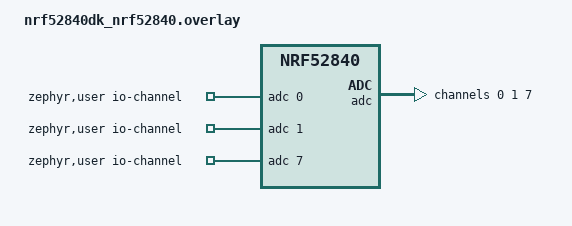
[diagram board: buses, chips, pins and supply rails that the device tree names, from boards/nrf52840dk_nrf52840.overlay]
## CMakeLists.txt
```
#
# Copyright (c) 2020 Nordic Semiconductor ASA
#
# SPDX-License-Identifier: LicenseRef-Nordic-5-Clause
#
cmake_minimum_required(VERSION 3.20.0)

find_package(Zephyr REQUIRED HINTS $ENV{ZEPHYR_BASE})
project(NONE)

# NORDIC SDK APP START
target_sources(app PRIVATE
	src/main.c
	src/model_handler.c
	src/light_monitor_srv.c)
target_include_directories(app PRIVATE include)
# NORDIC SDK APP END
```

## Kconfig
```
#
# Copyright (c) 2020 Nordic Semiconductor
#
# SPDX-License-Identifier: LicenseRef-Nordic-5-Clause
#

source "Kconfig.zephyr"

menu "Nordic Bluetooth mesh light monitor server sample"

config BT_MESH_LIGHT_MONITOR_MESSAGE_LENGTH
	int "Max length of the message to be sent over mesh"
	default 90
	range 0 255
	help
	  Impacts on memory size occupied by the buffer of a message to be
	  published. This does not include null terminator. The message must also
	  fit into the application SDU. Adjust BT_MESH_TX_SEG_MAX and
	  BT_MESH_RX_SEG_MAX to be able to receive the longest messages.

config BT_MESH_LIGHT_MONITOR_CACHE_SIZE
	int "Presence cache size"
	default 10
	range 0 32767
	help
	  Presence cache stores previously received presence of chat clients.
	  Recommended to be as big as number of chat clients in the mesh network.

endmenu

module = BT_MESH_LIGHT_MONITOR_srv
module-str = BT Mesh Light Monitor Server model
source "${ZEPHYR_BASE}/subsys/logging/Kconfig.template.log_config"
```

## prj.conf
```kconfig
#
# Copyright (c) 2020 Nordic Semiconductor ASA
#
# SPDX-License-Identifier: LicenseRef-Nordic-5-Clause
#
CONFIG_NCS_SAMPLES_DEFAULTS=y

# Deffered logging helps improve LPN power consumption
# when friendship is established.
CONFIG_LOG_MODE_DEFERRED=y

# General configuration
CONFIG_SYSTEM_WORKQUEUE_STACK_SIZE=4096
CONFIG_FLASH=y
CONFIG_FLASH_MAP=y
CONFIG_NVS=y
CONFIG_SETTINGS=y
CONFIG_HWINFO=y
CONFIG_DK_LIBRARY=y
CONFIG_PM_SINGLE_IMAGE=y
CONFIG_PM_PARTITION_SIZE_SETTINGS_STORAGE=0x8000
CONFIG_SOC_FLASH_NRF_PARTIAL_ERASE=y

# Bluetooth configuration
CONFIG_BT=y
CONFIG_BT_COMPANY_ID=0x0059
CONFIG_BT_DEVICE_NAME="Mesh Light Monitor Server"
CONFIG_BT_L2CAP_TX_MTU=69
CONFIG_BT_L2CAP_TX_BUF_COUNT=8
CONFIG_BT_CTLR_DATA_LENGTH_MAX=37
CONFIG_BT_BUF_ACL_TX_SIZE=37
CONFIG_BT_OBSERVER=y
CONFIG_BT_PERIPHERAL=y
CONFIG_BT_SETTINGS=y

# Disable unused Bluetooth features
CONFIG_BT_CTLR_DUP_FILTER_LEN=0
CONFIG_BT_CTLR_LE_ENC=n
CONFIG_BT_PHY_UPDATE=n
CONFIG_BT_CTLR_CHAN_SEL_2=n
CONFIG_BT_CTLR_MIN_USED_CHAN=n
CONFIG_BT_CTLR_PRIVACY=n

# Bluetooth Mesh configuration
CONFIG_BT_MESH=y
CONFIG_BT_MESH_RELAY=y
CONFIG_BT_MESH_FRIEND=y
CONFIG_BT_MESH_ADV_BUF_COUNT=13
CONFIG_BT_MESH_RX_SEG_MAX=10
CONFIG_BT_MESH_TX_SEG_MAX=10
CONFIG_BT_MESH_PB_GATT=y
CONFIG_BT_MESH_GATT_PROXY=y
CONFIG_BT_MESH_DK_PROV=y
CONFIG_BT_MESH_SENSOR_SRV=y

# Enable Bluetooth mesh models debug logs
CONFIG_BT_MESH_LOG_LEVEL_DBG=y


# ADC config
CONFIG_NRFX_SAADC=y
CONFIG_ADC=y
CONFIG_NRFX_GPIOTE=y

# UART config
CONFIG_SERIAL=y
CONFIG_UART_ASYNC_API=y
```

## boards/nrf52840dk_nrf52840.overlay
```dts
/*
 * SPDX-License-Identifier: Apache-2.0
 *
 * Copyright (c) 2022 Nordic Semiconductor ASA
 */


/ {
	zephyr,user {
		io-channels = <&adc 0>, <&adc 1>, <&adc 7>;
	};
};

&adc {
	#address-cells = <1>;
	#size-cells = <0>;

	channel@0 {
		reg = <0>;
		zephyr,gain = "ADC_GAIN_1_6";
		zephyr,reference = "ADC_REF_INTERNAL";
		zephyr,acquisition-time = <ADC_ACQ_TIME_DEFAULT>;
		zephyr,input-positive = <NRF_SAADC_AIN1>; /* P0.03 */
		zephyr,resolution = <12>;
		zephyr,oversampling = <8>;
	};
 
	channel@1 {
		reg = <1>;
		zephyr,gain = "ADC_GAIN_1_6";
		zephyr,reference = "ADC_REF_INTERNAL";
		zephyr,acquisition-time = <ADC_ACQ_TIME_DEFAULT>;
		zephyr,input-positive = <NRF_SAADC_VDD>;
		zephyr,resolution = <14>;
		zephyr,oversampling = <8>;
	};

	channel@7 {
		reg = <7>;
		zephyr,gain = "ADC_GAIN_1_5";
		zephyr,reference = "ADC_REF_VDD_1_4";
		zephyr,vref-mv = <750>;
		zephyr,acquisition-time = <ADC_ACQ_TIME_DEFAULT>;
		zephyr,input-positive = <NRF_SAADC_AIN6>; /* P0.30 */
		zephyr,input-negative = <NRF_SAADC_AIN7>; /* P0.31 */
		zephyr,resolution = <12>;
	};
};
```

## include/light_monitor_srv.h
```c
/*
 * Copyright (c) 2020 Nordic Semiconductor ASA
 *
 * SPDX-License-Identifier: LicenseRef-Nordic-5-Clause
 */

/**
 * @file
 * @defgroup bt_mesh_light_monitor
 * @{
 * @brief API for the Bluetooth Mesh Chat Client model.
 */

#ifndef BT_MESH_LIGHT_MONITOR_srv_H__
#define BT_MESH_LIGHT_MONITOR_srv_H__

#include <zephyr/bluetooth/mesh.h>
#include <bluetooth/mesh/model_types.h>
#include <bluetooth/mesh/sensor_srv.h>

#ifdef __cplusplus
extern "C" {
#endif

#define BT_MESH_LIGHT_MONITOR_VENDOR_COMPANY_ID 0x0059
#define BT_MESH_LIGHT_MONITOR_VENDOR_MODEL_ID 0x000B

#define BT_MESH_LIGHT_MONITOR_SETUP_VENDOR_MODEL_ID 0x000C

#define GET_STATUS_OPCODE BT_MESH_MODEL_OP_3(0x01, BT_MESH_LIGHT_MONITOR_VENDOR_COMPANY_ID)
#define TEST_ACK_OPCODE BT_MESH_MODEL_OP_3(0x02, BT_MESH_LIGHT_MONITOR_VENDOR_COMPANY_ID)
#define TEST_RESULT_OPCODE BT_MESH_MODEL_OP_3(0x03, BT_MESH_LIGHT_MONITOR_VENDOR_COMPANY_ID)
#define UPDATE_STATUS_OPCODE BT_MESH_MODEL_OP_3(0x04, BT_MESH_LIGHT_MONITOR_VENDOR_COMPANY_ID)
#define TEST_START_OPCODE BT_MESH_MODEL_OP_3(0x05, BT_MESH_LIGHT_MONITOR_VENDOR_COMPANY_ID)
#define RESULT_LOGG_OPCODE BT_MESH_MODEL_OP_3(0x06, BT_MESH_LIGHT_MONITOR_VENDOR_COMPANY_ID)
#define GET_LOG_OPCODE BT_MESH_MODEL_OP_3(0x07, BT_MESH_LIGHT_MONITOR_VENDOR_COMPANY_ID)
#define GET_ACK_OPCODE BT_MESH_MODEL_OP_3(0x08, BT_MESH_LIGHT_MONITOR_VENDOR_COMPANY_ID)
#define GET_START_OPCODE BT_MESH_MODEL_OP_3(0x09, BT_MESH_LIGHT_MONITOR_VENDOR_COMPANY_ID)
#define GET_RESULT_OPCODE BT_MESH_MODEL_OP_3(0x0A, BT_MESH_LIGHT_MONITOR_VENDOR_COMPANY_ID)
#define GET_TEST_START_OPCODE BT_MESH_MODEL_OP_3(0x0B, BT_MESH_LIGHT_MONITOR_VENDOR_COMPANY_ID)

#define CALIBRATE_OPCODE BT_MESH_MODEL_OP_3(0x0C, BT_MESH_LIGHT_MONITOR_VENDOR_COMPANY_ID)
#define CALIBRATE_OK_OPCODE BT_MESH_MODEL_OP_3(0x0D, BT_MESH_LIGHT_MONITOR_VENDOR_COMPANY_ID)

/** Non-private message opcode. */
#define BT_MESH_LIGHT_MONITOR_OP_MESSAGE                                                           \
	BT_MESH_MODEL_OP_3(0x0A, BT_MESH_LIGHT_MONITOR_VENDOR_COMPANY_ID)

/** Message reply opcode. */
#define BT_MESH_LIGHT_MONITOR_OP_MESSAGE_REPLY                                                     \
	BT_MESH_MODEL_OP_3(0x0C, BT_MESH_LIGHT_MONITOR_VENDOR_COMPANY_ID)

#define GET_STATUS_LEN 0
#define TEST_ACK_LEN 0
#define TEST_RESULT_LEN 1
#define STATUS_UPDATE_LEN 2
#define TEST_START_LEN 1
#define GET_LOG_LEN 0
#define RESULT_LOGG_LEN 5
#define GET_ACK_LEN 0
#define GET_START_LEN 0
#define GET_RESULT_LEN 0

#define CALIBRATE_LEN 0

#define BT_MESH_LIGHT_MONITOR_MSG_MINLEN_MESSAGE 1
#define BT_MESH_LIGHT_MONITOR_MSG_MAXLEN_MESSAGE                                                   \
	(CONFIG_BT_MESH_LIGHT_MONITOR_MESSAGE_LENGTH + 1) /* + \0 */
#define BT_MESH_LIGHT_MONITOR_MSG_LEN_MESSAGE_REPLY 0
#define BT_MESH_LIGHT_MONITOR_MSG_LEN_PRESENCE 1
#define BT_MESH_LIGHT_MONITOR_MSG_LEN_PRESENCE_GET 0

#define SLEEP_TIME_MS 1000
#define RECEIVE_BUFF_SIZE 10
#define RECEIVE_TIMEOUT 100

/* Forward declaration of the Bluetooth Mesh light Monitor Server model context. */
struct bt_mesh_light_monitor;

#define BT_MESH_MODEL_LIGHT_MONITOR(_monitor)                                                      \
	BT_MESH_MODEL_VND_CB(BT_MESH_LIGHT_MONITOR_VENDOR_COMPANY_ID,                              \
			     BT_MESH_LIGHT_MONITOR_VENDOR_MODEL_ID, _bt_mesh_light_monitor_op,     \
			     &(_monitor)->pub,                                                     \
			     BT_MESH_MODEL_USER_DATA(struct bt_mesh_light_monitor, _monitor),      \
			     &_bt_mesh_light_monitor_cb),                                          \
		BT_MESH_MODEL_VND_CB(BT_MESH_LIGHT_MONITOR_VENDOR_COMPANY_ID,                      \
				     BT_MESH_LIGHT_MONITOR_SETUP_VENDOR_MODEL_ID,                  \
				     _bt_mesh_light_monitor_setup_op, &(_monitor)->setup_pub,      \
				     BT_MESH_MODEL_USER_DATA(struct bt_mesh_light_monitor,         \
							     _monitor),                            \
				     &_bt_mesh_light_monitor_setup_cb)

/** Bluetooth Mesh Light Monitor handlers. */
struct bt_light_monitor_handlers {
	/** @brief Called after the monitor has been started.
     *
     * @param[in] monitor Light Monitor instance that has been started.
     */
	void (*const start)(struct bt_mesh_light_monitor *monitor);

	/** @brief Handler for an update message.
     *
     * @param[in] monitor Light Monitor instance that received the update message.
     * @param[in] ctx Context of the incoming message.
     * @param[in] msg Pointer to a received update message.
     */
	void (*const update)(struct bt_mesh_light_monitor *monitor, struct bt_mesh_msg_ctx *ctx,
			     const uint16_t *msg);

	/** @brief Handler for starting a test
     *
     * @param[in] monitor Light Monitor instance that received the test message.
     * @param[in] ctx Context of the incoming message.
     * @param[in] duration The duration for which the test will run in seconds.
     * @param[in] time_stamp The timestamp of when the test start message was sent.
     */
	void (*const test)(struct bt_mesh_light_monitor *monitor, struct bt_mesh_msg_ctx *ctx,
			   uint16_t duration, uint32_t time_stamp);

	/** @brief Handler for a result.
     *
     * @param[in] monitor Light Monitor instance that received the result.
     * @param[in] ctx Context of the incoming message.
     * @param[in] result Pointer to the received result.
     */
	void (*const result)(struct bt_mesh_light_monitor *monitor, struct bt_mesh_msg_ctx *ctx,
			     bool *result);

	/** @brief Handler for a get message.
     *
     * @param[in] monitor Light Monitor instance that received the get message.
     * @param[in] ctx Context of the incoming message.
     */
	int (*const get)(struct bt_mesh_light_monitor *monitor, struct bt_mesh_msg_ctx *ctx);

	/** @brief Handler for a get_log message.
     *
     * @param[in] monitor Light Monitor instance that received the get_log message.
     * @param[in] ctx Context of the incoming message.
     */
	int (*const get_log)(struct bt_mesh_light_monitor *monitor, struct bt_mesh_msg_ctx *ctx);

	/** @brief Handler for a test_ack message.
     *
     * @param[in] monitor Light Monitor instance that received the test_ack message.
     * @param[in] ctx Context of the incoming message.
     */
	int (*const test_ack)(struct bt_mesh_light_monitor *monitor, struct bt_mesh_msg_ctx *ctx);

	/** @brief Handler for a get_ack message.
     *
     * @param[in] monitor Light Monitor instance that received the get_ack message.
     * @param[in] ctx Context of the incoming message.
     */
	int (*const get_ack)(struct bt_mesh_light_monitor *monitor, struct bt_mesh_msg_ctx *ctx);

	/** @brief Handler for a get_result message.
     *
     * @param[in] monitor Light Monitor instance that received the get_result message.
     * @param[in] ctx Context of the incoming message.
     */
	int (*const get_result)(struct bt_mesh_light_monitor *monitor, struct bt_mesh_msg_ctx *ctx);

};

struct bt_light_monitor_setup_handlers {

	/** @brief Handler for a calibrate message.
     *
     * @param[in] monitor Light Monitor instance that received the calibrate message.
     * @param[in] ctx Context of the incoming message.
     */
	void (*const calibrate)(struct bt_mesh_light_monitor *monitor, struct bt_mesh_msg_ctx *ctx);
};

struct test_result {
	bool result;
	uint32_t time_stamp;
};

struct results_store {
	struct test_result results[8];
	uint8_t last_result_idx;
};

struct bt_mesh_light_monitor {
	/** Generic sensor Server instance. */
	struct bt_mesh_sensor_srv sensor_srv;
	/**light sensor instance*/
	struct bt_mesh_sensor light_sensor;
	/** Access model pointer. */
	struct bt_mesh_model *model;
	/** Publish parameters. */
	struct bt_mesh_model_pub pub;
	/** Publication message. */
	struct net_buf_simple pub_msg;
	/** Publication message buffer. */
	uint16_t buf[BT_MESH_MODEL_BUF_LEN(UPDATE_STATUS_OPCODE,
					   BT_MESH_LIGHT_MONITOR_MSG_MAXLEN_MESSAGE)];
	/** Handler function structure. */

	const struct bt_light_monitor_handlers *handlers;

	const struct bt_light_monitor_setup_handlers *setup_handlers;
	struct results_store res_sto;

	struct bt_mesh_model_pub setup_pub;
	/* Publication buffer */
	struct net_buf_simple setup_pub_buf;
	/* Publication data */
};

extern int send_sensor_update(struct bt_mesh_light_monitor *monitor, uint16_t sample_value);
extern int set_light_test_start(struct bt_mesh_light_monitor *monitor, uint16_t test_duration,
				uint32_t time_stamp);
extern int send_test_ack(struct bt_mesh_light_monitor *monitor);
extern int send_test_result(struct bt_mesh_light_monitor *monitor, bool result);
extern int handle_get_status(struct bt_mesh_model *model, struct bt_mesh_msg_ctx *ctx,
			     struct net_buf_simple *buf);
extern int get_status(struct bt_mesh_light_monitor *monitor);
extern int send_logged_result(struct bt_mesh_light_monitor *monitor, uint32_t time_stamp,
			      bool result);
extern int get_test_start(struct bt_mesh_light_monitor *monitor);
extern int send_calibrated_ok(struct bt_mesh_light_monitor *monitor);

/** @cond INTERNAL_HIDDEN */
extern const struct bt_mesh_model_op _bt_mesh_light_monitor_op[];
extern const struct bt_mesh_model_cb _bt_mesh_light_monitor_cb;
extern const struct bt_mesh_model_op _bt_mesh_light_monitor_setup_op[];
extern const struct bt_mesh_model_cb _bt_mesh_light_monitor_setup_cb;
/** @endcond */

#ifdef __cplusplus
}
#endif

#endif /* BT_MESH_LIGHT_MONITOR_H__ */

/** @} */
```

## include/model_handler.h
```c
/*
 * Copyright (c) 2020 Nordic Semiconductor ASA
 *
 * SPDX-License-Identifier: LicenseRef-Nordic-5-Clause
 */

/**
 * @file
 * @brief Model handler
 */

#ifndef MODEL_HANDLER_H__
#define MODEL_HANDLER_H__

#include <zephyr/bluetooth/mesh.h>

#ifdef __cplusplus
extern "C" {
#endif

/*A standard test length in seconds is 7200(Two hours) 
but is set shorter for testing purposes*/
#define TEST_DURATION 600
#define TEST_DURATION_TESTING 60

struct nodes_list {
	/** Name of the device instance */
	uint8_t list[512];
	/** Address of device instance config information */
	const void *config;
	/** Address of the API structure exposed by the device instance */
};

const struct bt_mesh_comp *model_handler_init(void);

#ifdef __cplusplus
}
#endif

#endif /* MODEL_HANDLER_H__ */
```

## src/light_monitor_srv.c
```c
/*
 * Copyright (c) 2019 Nordic Semiconductor ASA
 *
 * SPDX-License-Identifier: LicenseRef-Nordic-5-Clause
 */

#include <zephyr/bluetooth/mesh.h>
#include "light_monitor_srv.h"
#include "mesh/net.h"
#include <string.h>
#include <zephyr/logging/log.h>
#include <bluetooth/mesh/sensor_srv.h>

uint8_t err;

extern int handle_get_status(struct bt_mesh_model *model, struct bt_mesh_msg_ctx *ctx,
			     struct net_buf_simple *buf)
{
	struct bt_mesh_light_monitor *monitor = model->user_data;

	if (monitor->handlers->get) {
		monitor->handlers->get(monitor, ctx);
	}
	return 0;
}

static int handle_light_test_start(struct bt_mesh_model *model, struct bt_mesh_msg_ctx *ctx,
				   struct net_buf_simple *buf)
{
	uint16_t test_duration;
	uint32_t time_stamp;
	test_duration = net_buf_simple_pull_le16(buf);
	time_stamp = net_buf_simple_pull_le32(buf);
	struct bt_mesh_light_monitor *monitor = model->user_data;

	if (monitor->handlers->test) {
		monitor->handlers->test(monitor, ctx, test_duration, time_stamp);
	}
	return 0;
}

static int handle_log_get(struct bt_mesh_model *model, struct bt_mesh_msg_ctx *ctx,
			  struct net_buf_simple *buf)
{
	struct bt_mesh_light_monitor *monitor = model->user_data;
	if (monitor->handlers->get_log) {
		monitor->handlers->get_log(monitor, ctx);
	}
	return 0;
}

static int handle_ack_get(struct bt_mesh_model *model, struct bt_mesh_msg_ctx *ctx,
			  struct net_buf_simple *buf)
{
	struct bt_mesh_light_monitor *monitor = model->user_data;
	if (monitor->handlers->get_ack) {
		monitor->handlers->get_ack(monitor, ctx);
	}
	return 0;
}

static int handle_result_get(struct bt_mesh_model *model, struct bt_mesh_msg_ctx *ctx,
			     struct net_buf_simple *buf)
{
	struct bt_mesh_light_monitor *monitor = model->user_data;
	if (monitor->handlers->get_result) {
		monitor->handlers->get_result(monitor, ctx);
	}
	return 0;
}

static int handle_calibrate(struct bt_mesh_model *model, struct bt_mesh_msg_ctx *ctx,
			    struct net_buf_simple *buf)
{
	printk("calibrating\n");
	struct bt_mesh_light_monitor *monitor = model->user_data;
	if (monitor->setup_handlers->calibrate) {
		monitor->setup_handlers->calibrate(monitor, ctx);
	}
	return 0;
}

const struct bt_mesh_model_op _bt_mesh_light_monitor_op[] = {
	{ GET_STATUS_OPCODE, GET_STATUS_LEN, handle_get_status },
	{ TEST_START_OPCODE, TEST_START_LEN, handle_light_test_start },
	{ GET_LOG_OPCODE, GET_LOG_LEN, handle_log_get },
	{ GET_ACK_OPCODE, GET_ACK_LEN, handle_ack_get },
	{ GET_RESULT_OPCODE, GET_RESULT_LEN, handle_result_get },

	BT_MESH_MODEL_OP_END,
};

const struct bt_mesh_model_op _bt_mesh_light_monitor_setup_op[] = {
	{ CALIBRATE_OPCODE, CALIBRATE_LEN, handle_calibrate },
	
	BT_MESH_MODEL_OP_END,
};

uint16_t msg;
bool result_msg;
uint32_t time_stamp;
extern int send_sensor_update(struct bt_mesh_light_monitor *monitor, uint16_t update_value)
{
	msg = update_value;
	struct net_buf_simple *buf = monitor->model->pub->msg;

	bt_mesh_model_msg_init(buf, UPDATE_STATUS_OPCODE);
	net_buf_simple_add_le16(buf, msg);

	return bt_mesh_model_publish(monitor->model);
}

extern int send_test_result(struct bt_mesh_light_monitor *monitor, bool result)
{
	result_msg = result;
	struct net_buf_simple *buf = monitor->model->pub->msg;

	bt_mesh_model_msg_init(buf, TEST_RESULT_OPCODE);
	net_buf_simple_add_mem(buf, &result_msg, TEST_RESULT_LEN);
	if (IS_ENABLED(CONFIG_BT_SETTINGS)) {
		err = bt_mesh_model_data_store(monitor->model, true, NULL, &monitor->res_sto,
					       sizeof(monitor->res_sto));
	}

	return bt_mesh_model_publish(monitor->model);
}

extern int send_logged_result(struct bt_mesh_light_monitor *monitor, uint32_t time_stamp,
			      bool result)
{
	result_msg = result;
	time_stamp = time_stamp;
	struct net_buf_simple *buf = monitor->model->pub->msg;
	printk("Sendt logged result is %u and time is %d \n", result_msg, time_stamp);

	bt_mesh_model_msg_init(buf, RESULT_LOGG_OPCODE);
	net_buf_simple_add_mem(buf, &result_msg, 1);
	net_buf_simple_add_le32(buf, time_stamp);

	return bt_mesh_model_publish(monitor->model);
}

extern int get_test_start(struct bt_mesh_light_monitor *monitor)
{
	struct net_buf_simple *buf = monitor->model->pub->msg;

	bt_mesh_model_msg_init(buf, GET_START_OPCODE);

	return bt_mesh_model_publish(monitor->model);
}

extern int send_test_ack(struct bt_mesh_light_monitor *monitor)
{
	struct net_buf_simple *buf = monitor->model->pub->msg;

	bt_mesh_model_msg_init(buf, TEST_ACK_OPCODE);

	return bt_mesh_model_publish(monitor->model);
}

extern int send_calibrated_ok(struct bt_mesh_light_monitor *monitor)
{
	struct net_buf_simple *buf = monitor->model->pub->msg;

	bt_mesh_model_msg_init(buf, CALIBRATE_OK_OPCODE);

	return bt_mesh_model_publish(monitor->model);
}

static int bt_mesh_light_monitor_update_handler(struct bt_mesh_model *model)
{
	return 0;
}

#ifdef CONFIG_BT_SETTINGS
static int bt_mesh_light_monitor_srv_settings_set(struct bt_mesh_model *model, const char *name,
						  size_t len_rd, settings_read_cb read_cb,
						  void *cb_arg)
{
	struct bt_mesh_light_monitor *monitor = model->user_data;

	if (name) {
		return -ENOENT;
	}
	ssize_t bytes = read_cb(cb_arg, &monitor->res_sto, sizeof(monitor->res_sto));

	if (bytes < 0) {
		return bytes;
	}

	if (bytes != 0 && bytes != sizeof(monitor->res_sto)) {
		return -EINVAL;
	}

	return 0;
}
#endif

static int bt_mesh_light_monitor_init(struct bt_mesh_model *model)
{
	struct bt_mesh_light_monitor *monitor = model->user_data;
	monitor->model = model;
	monitor->setup_pub.msg = &monitor->setup_pub_buf;

	net_buf_simple_init_with_data(&monitor->setup_pub_buf, monitor->buf,
				      sizeof(monitor->setup_pub_buf));

	net_buf_simple_init_with_data(&monitor->pub_msg, monitor->buf, sizeof(monitor->buf));
	monitor->pub.msg = &monitor->pub_msg;
	monitor->pub.update = bt_mesh_light_monitor_update_handler;

	return 0;
}

static int bt_mesh_light_monitor_setup_init(struct bt_mesh_model *model)
{
	struct bt_mesh_light_monitor *monitor_setup = model->user_data;

	return bt_mesh_model_extend(model, monitor_setup->model);
}

const struct bt_mesh_model_cb _bt_mesh_light_monitor_setup_cb = {
	.init = bt_mesh_light_monitor_setup_init,
};

const struct bt_mesh_model_cb _bt_mesh_light_monitor_cb = {
	.init = bt_mesh_light_monitor_init,
#ifdef CONFIG_BT_SETTINGS
	.settings_set = bt_mesh_light_monitor_srv_settings_set,
#endif
}; /*
 * Copyright (c) 2019 Nordic Semiconductor ASA
 *
 * SPDX-License-Identifier: LicenseRef-Nordic-5-Clause
 */
```

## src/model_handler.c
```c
/*
 * Copyright (c) 2019 Nordic Semiconductor ASA
 *
 * SPDX-License-Identifier: LicenseRef-Nordic-5-Clause
 */

#include <stdio.h>

#include <zephyr/bluetooth/bluetooth.h>
#include <zephyr/bluetooth/mesh.h>
#include <bluetooth/mesh/models.h>
#include <dk_buttons_and_leds.h>
#include <zephyr/drivers/uart.h>
#include "light_monitor_srv.h"
#include "model_handler.h"
#include <zephyr/drivers/gpio.h>
#include <zephyr/device.h>
#include <zephyr/devicetree.h>
#include <inttypes.h>
#include <stddef.h>
#include <stdint.h>
#include <zephyr/drivers/adc.h>
#include <zephyr/kernel.h>
#include <zephyr/sys/printk.h>
#include <zephyr/sys/util.h>
#include <zephyr/drivers/gpio.h>
#include <zephyr/logging/log.h>

#if !DT_NODE_EXISTS(DT_PATH(zephyr_user)) || !DT_NODE_HAS_PROP(DT_PATH(zephyr_user), io_channels)
#error "No suitable devicetree overlay specified"
#endif

#define DT_SPEC_AND_COMMA(node_id, prop, idx) ADC_DT_SPEC_GET_BY_IDX(node_id, idx),

#define STANDARD_THRESHOLD_VALUE 3500
#define STANDARD_THRESHOLD_VARIANCE 50
#define DIGITAL_PIN 29

/* Data of ADC io-channels specified in devicetree. */
static const struct adc_dt_spec adc_channels[] = { DT_FOREACH_PROP_ELEM(
	DT_PATH(zephyr_user), io_channels, DT_SPEC_AND_COMMA) };
bool test_running = false;

/******************************************************************************/
/*************************** Health server setup ******************************/
/******************************************************************************/
/* Set up a repeating delayed work to blink the DK's LEDs when attention is
 * requested.
 */
static struct k_work_delayable attention_blink_work;
static bool attention;

static void attention_blink(struct k_work *work)
{
	static int idx;
	const uint8_t pattern[] = {
		BIT(0) | BIT(1),
		BIT(1) | BIT(2),
		BIT(2) | BIT(3),
		BIT(3) | BIT(0),
	};

	if (attention) {
		dk_set_leds(pattern[idx++ % ARRAY_SIZE(pattern)]);
		k_work_reschedule(&attention_blink_work, K_MSEC(30));
	} else {
		dk_set_leds(DK_NO_LEDS_MSK);
	}
}

static void attention_on(struct bt_mesh_model *mod)
{
	attention = true;
	k_work_reschedule(&attention_blink_work, K_NO_WAIT);
}

static void attention_off(struct bt_mesh_model *mod)
{
	/* Will stop rescheduling blink timer */
	attention = false;
}

static const struct bt_mesh_health_srv_cb health_srv_cb = {
	.attn_on = attention_on,
	.attn_off = attention_off,
};

static struct bt_mesh_health_srv health_srv = {
	.cb = &health_srv_cb,
};

BT_MESH_HEALTH_PUB_DEFINE(health_pub, 0);
/******************************************************************************/
/**************************** peripheral setup ********************************/
/******************************************************************************/
/*The ADC, gpio out, timers, and uart are configured and logic for the test is handled here*/

uint16_t adc_buf;
uint16_t test_duration;
uint16_t ldr_value;
uint32_t time_stamp_res;
static struct bt_mesh_light_monitor monitor;
static const struct device *gpio_dev;
struct k_timer adc_timer;
struct k_work adc_work;
struct k_timer log_timer;
struct k_work log_work;
struct adc_sequence sequence = {
	.buffer = &adc_buf,
	/* buffer size in bytes, not number of samples */
	.buffer_size = sizeof(adc_buf),
};
static void adc_sampler_helper(struct k_work *adc_work);
static void logger_helper(struct k_work *log_work);
static uint16_t adc_read_with_return(void);
K_WORK_DEFINE(adc_work, adc_sampler_helper);
K_WORK_DEFINE(log_work, logger_helper);
uint16_t test_failure_threshold = STANDARD_THRESHOLD_VALUE;

bool final_result = true;

/*Finished the test run, resets the status of the monitor to allow for another test to be started*/
static void finalize_result(struct k_timer *adc_timer)
{
	int err;

	struct test_result this_result = { .result = final_result, .time_stamp = time_stamp_res };
	monitor.res_sto.last_result_idx = (monitor.res_sto.last_result_idx + 1) % 8;
	monitor.res_sto.results[monitor.res_sto.last_result_idx] = this_result;

	err = send_test_result(&monitor, final_result);
	time_stamp_res = 0;
	final_result = true;
	test_running = false;
	test_duration = 0;
	gpio_pin_set(gpio_dev, DIGITAL_PIN, 0);

	if (err < 0) {
		printk("err is %d", err);
	}
}

/*Function to calculate resistance in the LDR based on the value read by the adc. 
  Higher resistance means less light hitting the ldr. Assumes the ldr has a max resistance of 
  10000 and that the max value of the adr is 5000. Both are estimates and for real applications
  accurate values should be used*/
static uint16_t resistance_calculation(uint16_t adc_value)
{
	float voltage = (adc_value * 3.3) / 5000;
	float ldrResistance = (10000 * voltage) / (3.3 - voltage); /*100000 is an estimation, for none-sample applications the sensor must be tested*/
	return ldrResistance;
}

static void adc_sampler_helper(struct k_work *adc_work)
{

	ldr_value = resistance_calculation(adc_read_with_return());
	printk("Value is %d\n", ldr_value);
	if (ldr_value > test_failure_threshold) {
		final_result = false;
		k_timer_stop(&adc_timer);
	}
	if (test_duration-- < 1) {
		k_timer_stop(&adc_timer);
	}

}

static uint16_t adc_read_with_return(void)
{
	int err;

	(void)adc_sequence_init_dt(&adc_channels[0], &sequence);
	err = adc_read(adc_channels[0].dev, &sequence);
	if (err < 0) {
		printk("Could not read (%d)\n", err);
	}
	return (uint16_t)adc_buf;
}

static void adc_work_handler(struct k_timer *timer)
{
	k_work_submit(&adc_work);
}

static void test_start(const uint16_t duration)
{
	test_duration = duration;
	gpio_pin_set(gpio_dev, DIGITAL_PIN, 1);
	k_timer_init(&adc_timer, adc_work_handler, finalize_result);
	k_timer_start(&adc_timer, K_SECONDS(1), K_SECONDS(1));
}

static void adc_init(void)
{
	int err;
	gpio_dev = DEVICE_DT_GET(DT_NODELABEL(gpio0));
	gpio_pin_configure(gpio_dev, DIGITAL_PIN, GPIO_OUTPUT);
	for (size_t i = 0U; i < ARRAY_SIZE(adc_channels); i++) {
		if (!device_is_ready(adc_channels[i].dev)) {
			printk("ADC controller device %s not ready\n", adc_channels[i].dev->name);
			return;
		}

		err = adc_channel_setup_dt(&adc_channels[i]);
		if (err < 0) {
			printk("Could not setup channel #%d (%d)\n", i, err);
			return;
		}
	}
}

static void button_handler_cb(uint32_t pressed, uint32_t changed)
{

	if (!bt_mesh_is_provisioned()) {
		return;
	}
	if (pressed == BIT(0)) {
		printk("button 1 was pressed\n");
	}
	if (pressed == BIT(1)) {
		printk("button 2 was pressed\n");
	}
	if (pressed == BIT(2)) {
		gpio_pin_set(gpio_dev, DIGITAL_PIN, 0);
		printk("button 3 was pressed\n");
	}
	if (pressed == BIT(3)) {
		gpio_pin_set(gpio_dev, DIGITAL_PIN, 1);
		printk("button 4 was pressed\n");
	}

}

static void calibrate_sensor(struct bt_mesh_light_monitor *monitor, struct bt_mesh_msg_ctx *ctx)
{	
	uint16_t calibration_value;
	calibration_value = resistance_calculation(adc_read_with_return());
	test_failure_threshold = calibration_value + STANDARD_THRESHOLD_VARIANCE;
	printk("New calibrated value is %d", calibration_value);
	send_calibrated_ok(monitor);
}

/******************************************************************************/
/*************************** monitor model setup ******************************/
/******************************************************************************/
/*All handling of monitor model cb and calls are done here*/

static void handle_start(struct bt_mesh_light_monitor *monitor)
{
	printk("Started \n");
}

static void handle_test_start(struct bt_mesh_light_monitor *monitor, struct bt_mesh_msg_ctx *ctx,
			      uint16_t duration, uint32_t time_stamp)
{
	if (test_running) {
		printk("Wait for existing test to finish before starting a new test \n");
	} else {
		test_running = true;
		time_stamp_res = time_stamp;

		test_start(duration);
		send_test_ack(monitor);
	}
}
int logger_index;
struct bt_mesh_light_monitor *logging_monitor;
static void logger_helper(struct k_work *log_work)
{
	if (logger_index == logging_monitor->res_sto.last_result_idx) {
		k_timer_stop(&log_timer);
	} else if (logging_monitor->res_sto.results[logger_index].time_stamp == 0) {
		printk("Empty log entry \n");
		logger_index--;
		if (logger_index < 0) {
			logger_index = 7;
		}
	}

	else {
		send_logged_result(logging_monitor,
				   logging_monitor->res_sto.results[logger_index].time_stamp,
				   logging_monitor->res_sto.results[logger_index].result);
		logger_index--;
		if (logger_index < 0) {
			logger_index = 7;
		}
	}
}

static void log_work_handler(struct k_timer *timer)
{
	k_work_submit(&log_work);
}

static int handle_get_log(struct bt_mesh_light_monitor *monitor, struct bt_mesh_msg_ctx *ctx)
{
	printk("Time stamp in handler is %d \n",
	       monitor->res_sto.results[monitor->res_sto.last_result_idx].time_stamp);
	send_logged_result(monitor,
			   monitor->res_sto.results[monitor->res_sto.last_result_idx].time_stamp,
			   monitor->res_sto.results[monitor->res_sto.last_result_idx].result);
	logger_index = monitor->res_sto.last_result_idx - 1;
	k_timer_init(&log_timer, log_work_handler, NULL);
	k_timer_start(&log_timer, K_SECONDS(0.05), K_SECONDS(0.05));
	logging_monitor = monitor;
	return 0;
}

static int handle_get_ack(struct bt_mesh_light_monitor *monitor, struct bt_mesh_msg_ctx *ctx)
{
	if (test_running) {
		send_test_ack(monitor);
		return 0;
	} else {
		get_test_start(monitor);
		return -1;
	}
}

static int handle_get_sensor(struct bt_mesh_light_monitor *monitor, struct bt_mesh_msg_ctx *ctx)
{
	send_sensor_update(monitor, ldr_value);

	return 0;
}

static int handle_get_result(struct bt_mesh_light_monitor *monitor, struct bt_mesh_msg_ctx *ctx)
{
	send_test_result(monitor,
			 monitor->res_sto.results[monitor->res_sto.last_result_idx].result);
	return 0;
}

static const struct bt_light_monitor_handlers monitor_handlers = {
	.start = handle_start,
	.test = handle_test_start,
	.get = handle_get_sensor,
	.get_log = handle_get_log,
	.get_ack = handle_get_ack,
	.get_result = handle_get_result,
};

static const struct bt_light_monitor_setup_handlers setup_handlers = {
	.calibrate = calibrate_sensor,
};

static struct bt_mesh_light_monitor monitor = {
	.handlers = &monitor_handlers,
	.setup_handlers = &setup_handlers,
};


static struct bt_mesh_elem elements[] = {
	BT_MESH_ELEM(1,
		     BT_MESH_MODEL_LIST(BT_MESH_MODEL_CFG_SRV,
					BT_MESH_MODEL_HEALTH_SRV(&health_srv, &health_pub)),
		     BT_MESH_MODEL_LIST(BT_MESH_MODEL_LIGHT_MONITOR(&monitor))),
};

static const struct bt_mesh_comp comp = {
	.cid = CONFIG_BT_COMPANY_ID,
	.elem = elements,
	.elem_count = ARRAY_SIZE(elements),
};

const struct bt_mesh_comp *model_handler_init(void)
{
	k_work_init_delayable(&attention_blink_work, attention_blink);
	adc_init();
	static struct button_handler button_handler = {
		.cb = button_handler_cb,
	};
	dk_button_handler_add(&button_handler);
	return &comp;
}
```
